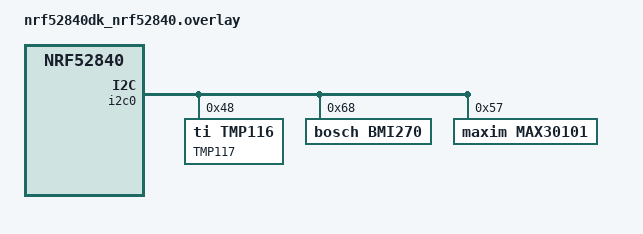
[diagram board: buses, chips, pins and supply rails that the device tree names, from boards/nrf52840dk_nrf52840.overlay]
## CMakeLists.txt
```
#
# Copyright (c) 2018 Nordic Semiconductor
#
# SPDX-License-Identifier: LicenseRef-Nordic-5-Clause
#
cmake_minimum_required(VERSION 3.20.0)

find_package(Zephyr REQUIRED HINTS $ENV{ZEPHYR_BASE})
project(NONE)

# NORDIC SDK APP START
target_sources(app PRIVATE
  src/main.c
)

# Add the component BLE
target_sources(app PRIVATE
    components/ble/ble_service.c)
target_include_directories(app
    PRIVATE
    ${CMAKE_CURRENT_SOURCE_DIR}/components/ble
)

# Add the component Sensors (tmp117)
target_sources(app PRIVATE
    components/sensors/tmp117.c)
target_include_directories(app
    PRIVATE
    ${CMAKE_CURRENT_SOURCE_DIR}/components/sensors
)
# Add the component Sensors (bmi270)
target_sources(app PRIVATE
    components/sensors/bmi270.c)
target_include_directories(app
    PRIVATE
    ${CMAKE_CURRENT_SOURCE_DIR}/components/sensors
)
# Add the component Sensors (max30101)
target_sources(app PRIVATE
    components/sensors/max30101.c)
target_include_directories(app
    PRIVATE
    ${CMAKE_CURRENT_SOURCE_DIR}/components/sensors
)


# NORDIC SDK APP END
```

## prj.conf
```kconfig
#
# Copyright (c) 2018 Nordic Semiconductor
#
# SPDX-License-Identifier: LicenseRef-Nordic-5-Clause
#


CONFIG_BT=y
CONFIG_BT_PERIPHERAL=y
CONFIG_BT_DEVICE_NAME="Nordic_OTA"



CONFIG_SYSTEM_WORKQUEUE_STACK_SIZE=2048

# CONFIG_BOOTLOADER_MCUBOOT=y    #if not usign sysbuild.

CONFIG_NCS_SAMPLE_MCUMGR_BT_OTA_DFU=y

CONFIG_FLASH=y
CONFIG_FLASH_MAP=y
CONFIG_NVS=y

CONFIG_SETTINGS=y

#RTT
CONFIG_RTT_CONSOLE=y
CONFIG_UART_CONSOLE=n
CONFIG_USE_SEGGER_RTT=y

CONFIG_LOG=y

CONFIG_SENSOR=y
CONFIG_I2C=y

#TMP117 sensor
CONFIG_TMP116=y
#BMI270 sensor
CONFIG_BMI270=y
#MAX30101
CONFIG_MAX30101=y
```

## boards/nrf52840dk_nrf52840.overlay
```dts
&i2c0 {
    status = "okay";
    pinctrl-0 = <&i2c0_default>;
	pinctrl-1 = <&i2c0_sleep>;
    tmp117:tmp117@48 {
        compatible = "ti,tmp116";
        reg = <0x48>;
        label = "TMP117";
    };
    bmi270: bmi270@68 {
        compatible = "bosch,bmi270";
        reg = <0x68>;  // Default I²C address if SDO is tied low
        label = "BMI270";
        // int-gpios = <&gpio0 10 GPIO_ACTIVE_HIGH>;  // Replace with actual interrupt pin
    };
     max30101:max30101@57 {
        compatible = "maxim,max30101";
        reg = <0x57>;  // I2C address for MAX30101
        label = "MAX30101";
        interrupt-parent = <&gpio0>;
        // interrupt = <10 GPIO_ACTIVE_HIGH>;  // Example interrupt pin
    };
};
```

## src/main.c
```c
#include <zephyr/kernel.h>
#include <zephyr/logging/log.h>
#include "ble_service.h"
#include "tmp117.h"
#include "bmi270.h"
#include "max30101.h"  // Include MAX30101 header

LOG_MODULE_REGISTER(main_app, LOG_LEVEL_INF);

void peripheral_init(void);

void main(void)
{
    LOG_INF("Starting BLE Custom Service Application");

    // Initialize peripherals (BLE service, TMP117, BMI270, MAX30101)
    peripheral_init();

    // Main loop
    while (1) {
        k_sleep(K_SECONDS(5));

        // Reading temperature from TMP117
        struct sensor_value temp;
        if (tmp117_read_temperature(&temp) == 0) {
            LOG_INF("Temperature: %d.%06d C", temp.val1, temp.val2);

            // Convert temperature to int for BLE notification (scaled value)
            int16_t temp_centi = temp.val1 * 100 + temp.val2 / 10000;
            ble_service_notify(&temp_centi, sizeof(temp_centi));
        } else {
            LOG_WRN("Failed to read temperature from TMP117");
        }

        // Reading acceleration data from BMI270
        struct sensor_value accel_x, accel_y, accel_z;
        if (bmi270_read_acceleration(&accel_x, &accel_y, &accel_z) == 0) {
            LOG_INF("Acceleration: X=%d.%06d Y=%d.%06d Z=%d.%06d",
                    accel_x.val1, accel_x.val2,
                    accel_y.val1, accel_y.val2,
                    accel_z.val1, accel_z.val2);

            // Convert acceleration to int for BLE notification
            int32_t accel_data[3] = {
                accel_x.val1 * 100 + accel_x.val2 / 10000,
                accel_y.val1 * 100 + accel_y.val2 / 10000,
                accel_z.val1 * 100 + accel_z.val2 / 10000
            };

            // Notify BLE with acceleration data (e.g., X, Y, Z values)
            ble_service_notify(accel_data, sizeof(accel_data));
        } else {
            LOG_WRN("Failed to read acceleration data from BMI270");
        }

        // Reading gyroscope data from BMI270
        struct sensor_value gyro_x, gyro_y, gyro_z;
        if (bmi270_read_gyroscope(&gyro_x, &gyro_y, &gyro_z) == 0) {
            LOG_INF("Gyroscope: X=%d.%06d Y=%d.%06d Z=%d.%06d",
                    gyro_x.val1, gyro_x.val2,
                    gyro_y.val1, gyro_y.val2,
                    gyro_z.val1, gyro_z.val2);

            // Convert gyroscope to int for BLE notification
            int32_t gyro_data[3] = {
                gyro_x.val1 * 100 + gyro_x.val2 / 10000,
                gyro_y.val1 * 100 + gyro_y.val2 / 10000,
                gyro_z.val1 * 100 + gyro_z.val2 / 10000
            };

            // Notify BLE with gyroscope data (e.g., X, Y, Z values)
            ble_service_notify(gyro_data, sizeof(gyro_data));
        } else {
            LOG_WRN("Failed to read gyroscope data from BMI270");
        }

        // Reading Heart Rate from MAX30101
        struct sensor_value hr;
        if (max30101_read_heart_rate(&hr) == 0) {
            LOG_INF("Heart Rate: %d bpm", hr.val1);

            // Convert heart rate to int for BLE notification
            ble_service_notify(&hr.val1, sizeof(hr.val1));
        } else {
            LOG_WRN("Failed to read heart rate from MAX30101");
        }

        // Reading SpO2 from MAX30101
        struct sensor_value spo2;
        if (max30101_read_spo2(&spo2) == 0) {
            LOG_INF("SpO2: %d%%", spo2.val1);

            // Convert SpO2 to int for BLE notification
            ble_service_notify(&spo2.val1, sizeof(spo2.val1));
        } else {
            LOG_WRN("Failed to read SpO2 from MAX30101");
        }
    }
}

// Function to initialize peripherals like BLE service and sensors
void peripheral_init(void)
{
    // Initialize BLE service
    ble_service_init();

    // Initialize TMP117 sensor
    if (tmp117_init() != 0) {
        LOG_ERR("TMP117 initialization failed");
        return;
    }

    // Initialize BMI270 sensor
    if (bmi270_init() != 0) {
        LOG_ERR("BMI270 initialization failed");
        return;
    }

    // Initialize MAX30101 sensor
    if (max30101_init() != 0) {
        LOG_ERR("MAX30101 initialization failed");
        return;
    }

    LOG_INF("All peripherals initialized successfully");
}
```
